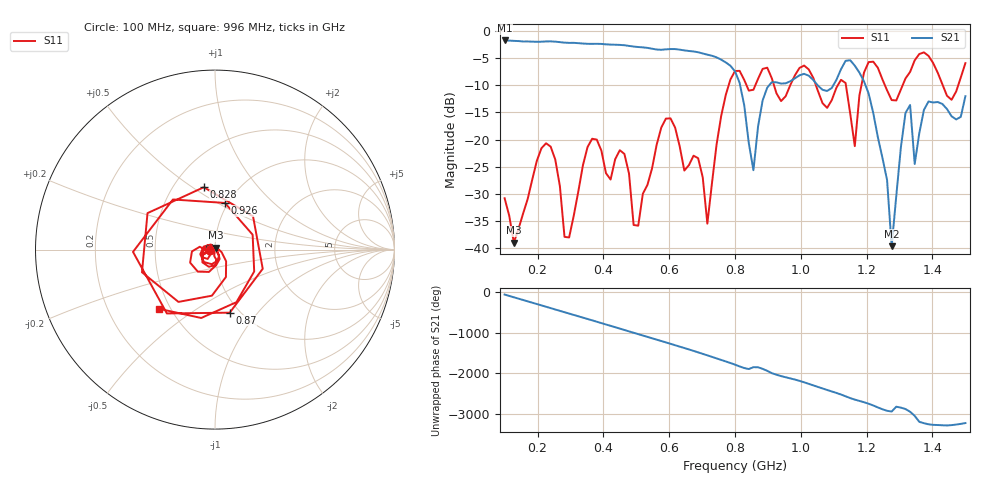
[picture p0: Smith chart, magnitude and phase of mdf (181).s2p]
! NanoVNA-App
! Date: 2025-09-25 15:39:50
! Start: 100MHz Stop: 1,5GHz Points: 101
! S-Parameter data: F S11 S21 S12 S22
# Hz S RI R 50
!  Frequency  S11_Real  S11_Imag  S21_Real  S21_Imag  S12_Real  S12_Imag  S22_Real  S22_Imag
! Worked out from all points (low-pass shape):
!   101 points, 100 MHz to 1.5 GHz, reference 50 ohm
!   highest |S21| = -1.80 dB at 100 MHz (marker M1); lowest = -39.6 dB at 1.276 GHz (marker M2)
!   |S21| within 3 dB of the highest: start of sweep to 739.1 MHz
!   lowest |S11| = -38.9 dB at 128 MHz (marker M3), VSWR 1.02, Z = 50.3 + j1.08 ohm
!   |S11| at or under -10 dB: start of sweep to 780.9 MHz; 918.3 MHz to 968 MHz (49.71 MHz wide, 5.27 % of centre); 1.046 GHz to 1.113 GHz (67.07 MHz wide, 6.22 % of centre) (the widest 3 of 7)
!   S12 and S22 are empty: the file has one direction only
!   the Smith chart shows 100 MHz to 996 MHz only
!   S11 on the Smith chart (normalised r, x): 100 MHz: 0.94, -0.01; 828 MHz: 0.70, +0.56; 870 MHz: 0.90, -0.73; 926 MHz: 0.97, +0.54; 996 MHz: 0.43, -0.36
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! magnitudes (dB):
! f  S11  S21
! 100 MHz  -30.8  -1.8
! 128 MHz  -38.9  -1.9
! 212 MHz  -21.6  -2.0
! 282 MHz  -37.9  -2.2
! 338 MHz  -24.7  -2.4
! 464 MHz  -22.6  -2.7
! 506 MHz  -35.8  -3.0
! 576 MHz  -17.8  -3.5
! 716 MHz  -35.4  -4.4
! 800 MHz  -7.4  -7.5
! 828 MHz  -9.0  -13.7
! 856 MHz  -10.9  -25.6
! 870 MHz  -8.9  -17.6
! 926 MHz  -11.5  -9.5
! 996 MHz  -6.8  -8.2
! 1.038 GHz  -8.7  -9.1
! 1.164 GHz  -21.2  -6.4
! 1.192 GHz  -7.7  -9.3
! 1.276 GHz  -12.8  -39.6
! 1.318 GHz  -8.8  -15.1
! 1.346 GHz  -5.4  -24.5
! 1.5 GHz  -6.0  -12.0
